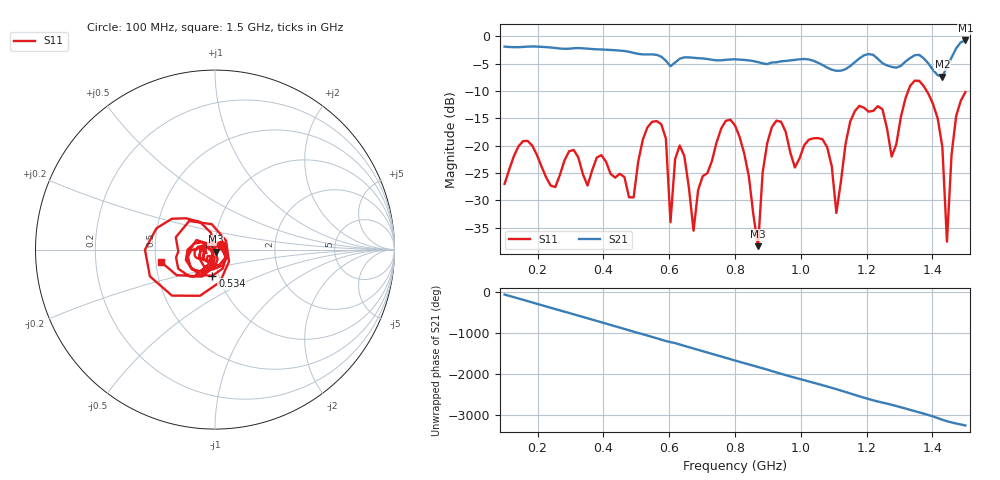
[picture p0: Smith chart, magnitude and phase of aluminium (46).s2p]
! NanoVNA-App
! Date: 2025-09-26 09:58:25
! Start: 100MHz Stop: 1,5GHz Points: 101
! S-Parameter data: F S11 S21 S12 S22
# Hz S RI R 50
!  Frequency  S11_Real  S11_Imag  S21_Real  S21_Imag  S12_Real  S12_Imag  S22_Real  S22_Imag
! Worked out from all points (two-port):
!   101 points, 100 MHz to 1.5 GHz, reference 50 ohm
!   highest |S21| = -0.79 dB at 1.5 GHz (marker M1); lowest = -7.4 dB at 1.43 GHz (marker M2)
!   |S21| within 3 dB of the highest: start of sweep to 576.7 MHz; 1.185 GHz to 1.227 GHz (42.21 MHz wide, 3.5 % of centre)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
!   lowest |S11| = -38.4 dB at 870 MHz (marker M3), VSWR 1.02, Z = 50.4 - j1.15 ohm
!   |S11| at or under -10 dB: start of sweep to 1.326 GHz; 1.382 GHz to end of sweep
!   S12 and S22 are empty: the file has one direction only
!   S11 on the Smith chart (normalised r, x): 100 MHz: 1.07, +0.06; 534 MHz: 0.93, -0.28; 1.5 GHz: 0.53, -0.08
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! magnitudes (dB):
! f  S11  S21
! 100 MHz  -27.0  -1.9
! 156 MHz  -19.2  -2.0
! 338 MHz  -25.3  -2.2
! 492 MHz  -29.5  -3.1
! 534 MHz  -16.7  -3.3
! 576 MHz  -16.1  -3.8
! 604 MHz  -34.0  -5.5
! 632 MHz  -20.0  -4.1
! 674 MHz  -35.6  -4.0
! 800 MHz  -16.3  -4.2
! 870 MHz  -38.4  -4.8
! 912 MHz  -16.6  -4.8
! 1.038 GHz  -18.7  -4.5
! 1.08 GHz  -20.3  -5.8
! 1.108 GHz  -32.3  -6.3
! 1.178 GHz  -12.7  -4.1
! 1.276 GHz  -22.0  -5.6
! 1.346 GHz  -8.1  -3.5
! 1.43 GHz  -20.3  -7.4
! 1.444 GHz  -37.6  -5.6
! 1.472 GHz  -14.6  -2.2
! 1.5 GHz  -10.2  -0.8
